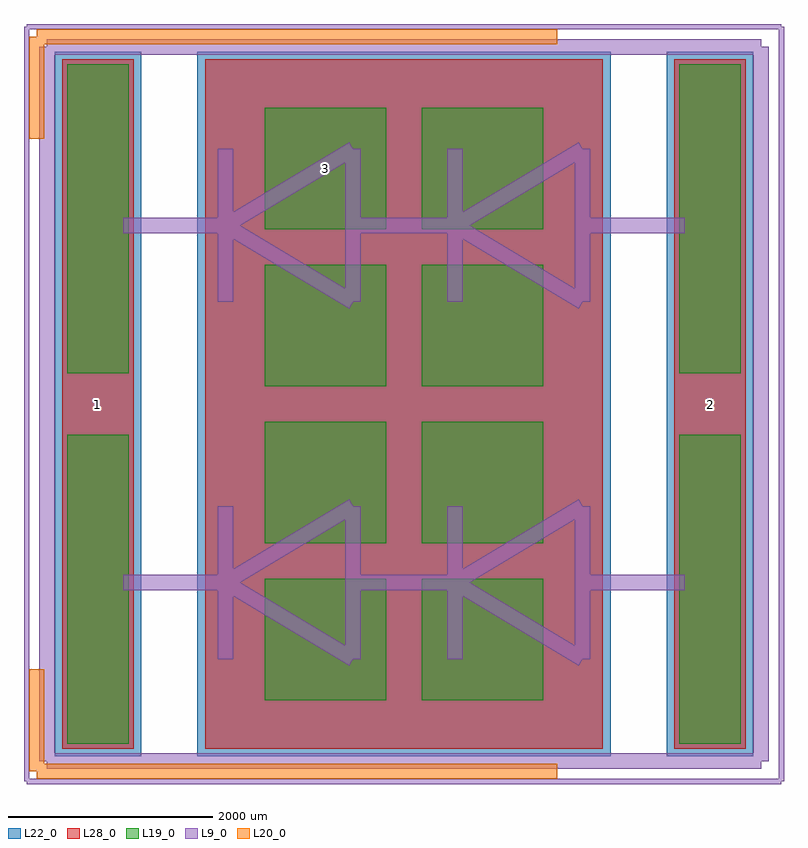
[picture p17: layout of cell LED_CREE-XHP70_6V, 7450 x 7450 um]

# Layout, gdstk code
import gdstk
lib = gdstk.Library(unit=1e-6, precision=1e-09)
def R(c, l, rs):  # rectangles x0, y0, x1, y1
    for r in rs: c.add(gdstk.rectangle(r[:2], r[2:], *l))
def A(c, l, x, y, w, h, nx, ny, dx, dy):  # array of equal rectangles
    R(c, l, [(x+i*dx, y+j*dy, x+i*dx+w, y+j*dy+h) for i in range(nx) for j in range(ny)])
L9_0 = (9, 0)
L19_0 = (19, 0)
L20_0 = (20, 0)
L22_0 = (22, 0)
L28_0 = (28, 0)

led_cree_xhp70_6v = lib.new_cell('LED_CREE-XHP70_6V')
A(led_cree_xhp70_6v, L19_0, -1365, -2905, 1190, 1190, 1, 4, 0, 1540)
A(led_cree_xhp70_6v, L19_0, 175, -2905, 1190, 1190, 1, 4, 0, 1540)
R(led_cree_xhp70_6v, L19_0, [(-3300,-3330,-2700,-300), (2700,-3330,3300,-300), (-3300,300,-2700,3330), (2700,300,3300,3330)])
A(led_cree_xhp70_6v, L22_0, -3425, -3455, 850, 3280, 1, 3, 0, 1815)
A(led_cree_xhp70_6v, L22_0, 2575, -3455, 850, 3280, 1, 3, 0, 1815)
A(led_cree_xhp70_6v, L22_0, -1490, -3030, 1440, 1440, 1, 4, 0, 1540)
A(led_cree_xhp70_6v, L22_0, 50, -3030, 1440, 1440, 1, 4, 0, 1540)
R(led_cree_xhp70_6v, L22_0, [(-2025,-3455,2025,3455)])
A(led_cree_xhp70_6v, L28_0, -3350, -3380, 700, 3130, 1, 3, 0, 1815)
A(led_cree_xhp70_6v, L28_0, 2650, -3380, 700, 3130, 1, 3, 0, 1815)
A(led_cree_xhp70_6v, L28_0, -1415, -2955, 1290, 1290, 1, 4, 0, 1540)
A(led_cree_xhp70_6v, L28_0, 125, -2955, 1290, 1290, 1, 4, 0, 1540)
R(led_cree_xhp70_6v, L28_0, [(-1950,-3380,1950,3380)])
led_cree_xhp70_6v.add(gdstk.FlexPath([(-500,-1000),(-1750,-1750)], 149.998, ends="flush", simple_path=True, layer=9, datatype=0))  # L9_0
led_cree_xhp70_6v.add(gdstk.FlexPath([(-500,-2500),(-500,-1000)], 149.998, ends="flush", simple_path=True, layer=9, datatype=0))  # L9_0
led_cree_xhp70_6v.add(gdstk.FlexPath([(-1750,-1750),(-500,-2500)], 149.998, ends="flush", simple_path=True, layer=9, datatype=0))  # L9_0
led_cree_xhp70_6v.add(gdstk.FlexPath([(-1750,-1750),(-1750,-2500)], 149.998, ends="flush", simple_path=True, layer=9, datatype=0))  # L9_0
led_cree_xhp70_6v.add(gdstk.FlexPath([(-1750,-1750),(-1750,-1000)], 149.998, ends="flush", simple_path=True, layer=9, datatype=0))  # L9_0
led_cree_xhp70_6v.add(gdstk.FlexPath([(-2750,-1750),(-1750,-1750)], 149.998, ends="flush", simple_path=True, layer=9, datatype=0))  # L9_0
led_cree_xhp70_6v.add(gdstk.FlexPath([(500,-1000),(500,-2500)], 149.998, ends="flush", simple_path=True, layer=9, datatype=0))  # L9_0
led_cree_xhp70_6v.add(gdstk.FlexPath([(500,-1750),(1750,-1000)], 149.998, ends="flush", simple_path=True, layer=9, datatype=0))  # L9_0
led_cree_xhp70_6v.add(gdstk.FlexPath([(1750,-2500),(500,-1750)], 149.998, ends="flush", simple_path=True, layer=9, datatype=0))  # L9_0
led_cree_xhp70_6v.add(gdstk.FlexPath([(1750,-1750),(1750,-2500)], 149.998, ends="flush", simple_path=True, layer=9, datatype=0))  # L9_0
led_cree_xhp70_6v.add(gdstk.FlexPath([(1750,-1750),(1750,-1000)], 149.998, ends="flush", simple_path=True, layer=9, datatype=0))  # L9_0
led_cree_xhp70_6v.add(gdstk.FlexPath([(2750,-1750),(1750,-1750)], 149.998, ends="flush", simple_path=True, layer=9, datatype=0))  # L9_0
led_cree_xhp70_6v.add(gdstk.FlexPath([(-500,-1750),(500,-1750)], 149.998, ends="flush", simple_path=True, layer=9, datatype=0))  # L9_0
led_cree_xhp70_6v.add(gdstk.FlexPath([(3500,3500),(-3500,3500)], 149.998, ends="flush", simple_path=True, layer=9, datatype=0))  # L9_0
led_cree_xhp70_6v.add(gdstk.FlexPath([(-3500,3500),(-3500,-3500)], 149.998, ends="flush", simple_path=True, layer=9, datatype=0))  # L9_0
led_cree_xhp70_6v.add(gdstk.FlexPath([(-3500,-3500),(3500,-3500)], 149.998, ends="flush", simple_path=True, layer=9, datatype=0))  # L9_0
led_cree_xhp70_6v.add(gdstk.FlexPath([(3500,-3500),(3500,3500)], 149.998, ends="flush", simple_path=True, layer=9, datatype=0))  # L9_0
led_cree_xhp70_6v.add(gdstk.FlexPath([(3700,3700),(-3700,3700)], 50, ends="flush", simple_path=True, layer=9, datatype=0))  # L9_0
led_cree_xhp70_6v.add(gdstk.FlexPath([(-3700,3700),(-3700,-3700)], 50, ends="flush", simple_path=True, layer=9, datatype=0))  # L9_0
led_cree_xhp70_6v.add(gdstk.FlexPath([(-3700,-3700),(3700,-3700)], 50, ends="flush", simple_path=True, layer=9, datatype=0))  # L9_0
led_cree_xhp70_6v.add(gdstk.FlexPath([(3700,-3700),(3700,3700)], 50, ends="flush", simple_path=True, layer=9, datatype=0))  # L9_0
led_cree_xhp70_6v.add(gdstk.FlexPath([(1500,-3600),(-3600,-3600)], 149.998, ends="flush", simple_path=True, layer=20, datatype=0))  # L20_0
led_cree_xhp70_6v.add(gdstk.FlexPath([(-3600,-3600),(-3600,-2600)], 149.998, ends="flush", simple_path=True, layer=20, datatype=0))  # L20_0
led_cree_xhp70_6v.add(gdstk.FlexPath([(1500,3600),(-3600,3600)], 149.998, ends="flush", simple_path=True, layer=20, datatype=0))  # L20_0
led_cree_xhp70_6v.add(gdstk.FlexPath([(-3600,3600),(-3600,2600)], 149.998, ends="flush", simple_path=True, layer=20, datatype=0))  # L20_0
led_cree_xhp70_6v.add(gdstk.FlexPath([(2750,1750),(1750,1750)], 149.998, ends="flush", simple_path=True, layer=9, datatype=0))  # L9_0
led_cree_xhp70_6v.add(gdstk.FlexPath([(1750,1750),(1750,2500)], 149.998, ends="flush", simple_path=True, layer=9, datatype=0))  # L9_0
led_cree_xhp70_6v.add(gdstk.FlexPath([(1750,1750),(1750,1000)], 149.998, ends="flush", simple_path=True, layer=9, datatype=0))  # L9_0
led_cree_xhp70_6v.add(gdstk.FlexPath([(1750,1000),(500,1750)], 149.998, ends="flush", simple_path=True, layer=9, datatype=0))  # L9_0
led_cree_xhp70_6v.add(gdstk.FlexPath([(500,1750),(1750,2500)], 149.998, ends="flush", simple_path=True, layer=9, datatype=0))  # L9_0
led_cree_xhp70_6v.add(gdstk.FlexPath([(500,2500),(500,1000)], 149.998, ends="flush", simple_path=True, layer=9, datatype=0))  # L9_0
led_cree_xhp70_6v.add(gdstk.FlexPath([(-2750,1750),(-1750,1750)], 149.998, ends="flush", simple_path=True, layer=9, datatype=0))  # L9_0
led_cree_xhp70_6v.add(gdstk.FlexPath([(-1750,1750),(-1750,2500)], 149.998, ends="flush", simple_path=True, layer=9, datatype=0))  # L9_0
led_cree_xhp70_6v.add(gdstk.FlexPath([(-1750,1750),(-1750,1000)], 149.998, ends="flush", simple_path=True, layer=9, datatype=0))  # L9_0
led_cree_xhp70_6v.add(gdstk.FlexPath([(-1750,1750),(-500,1000)], 149.998, ends="flush", simple_path=True, layer=9, datatype=0))  # L9_0
led_cree_xhp70_6v.add(gdstk.FlexPath([(-500,1000),(-500,2500)], 149.998, ends="flush", simple_path=True, layer=9, datatype=0))  # L9_0
led_cree_xhp70_6v.add(gdstk.FlexPath([(-500,2500),(-1750,1750)], 149.998, ends="flush", simple_path=True, layer=9, datatype=0))  # L9_0
led_cree_xhp70_6v.add(gdstk.FlexPath([(-500,1750),(500,1750)], 149.998, ends="flush", simple_path=True, layer=9, datatype=0))  # L9_0
led_cree_xhp70_6v.add(gdstk.Label('1', (-3000,0), layer=28, texttype=0))
led_cree_xhp70_6v.add(gdstk.Label('2', (3000,0), layer=28, texttype=0))
led_cree_xhp70_6v.add(gdstk.Label('3', (-770,2310), layer=28, texttype=0))
led_cree_xhp70_6v.add(gdstk.Label('type', (0,4400), layer=9, texttype=0))
led_cree_xhp70_6v.add(gdstk.Label('devicename', (0,-4400), layer=9, texttype=0))

lib.write_gds('LED_CREE-XHP70_6V.gds')
